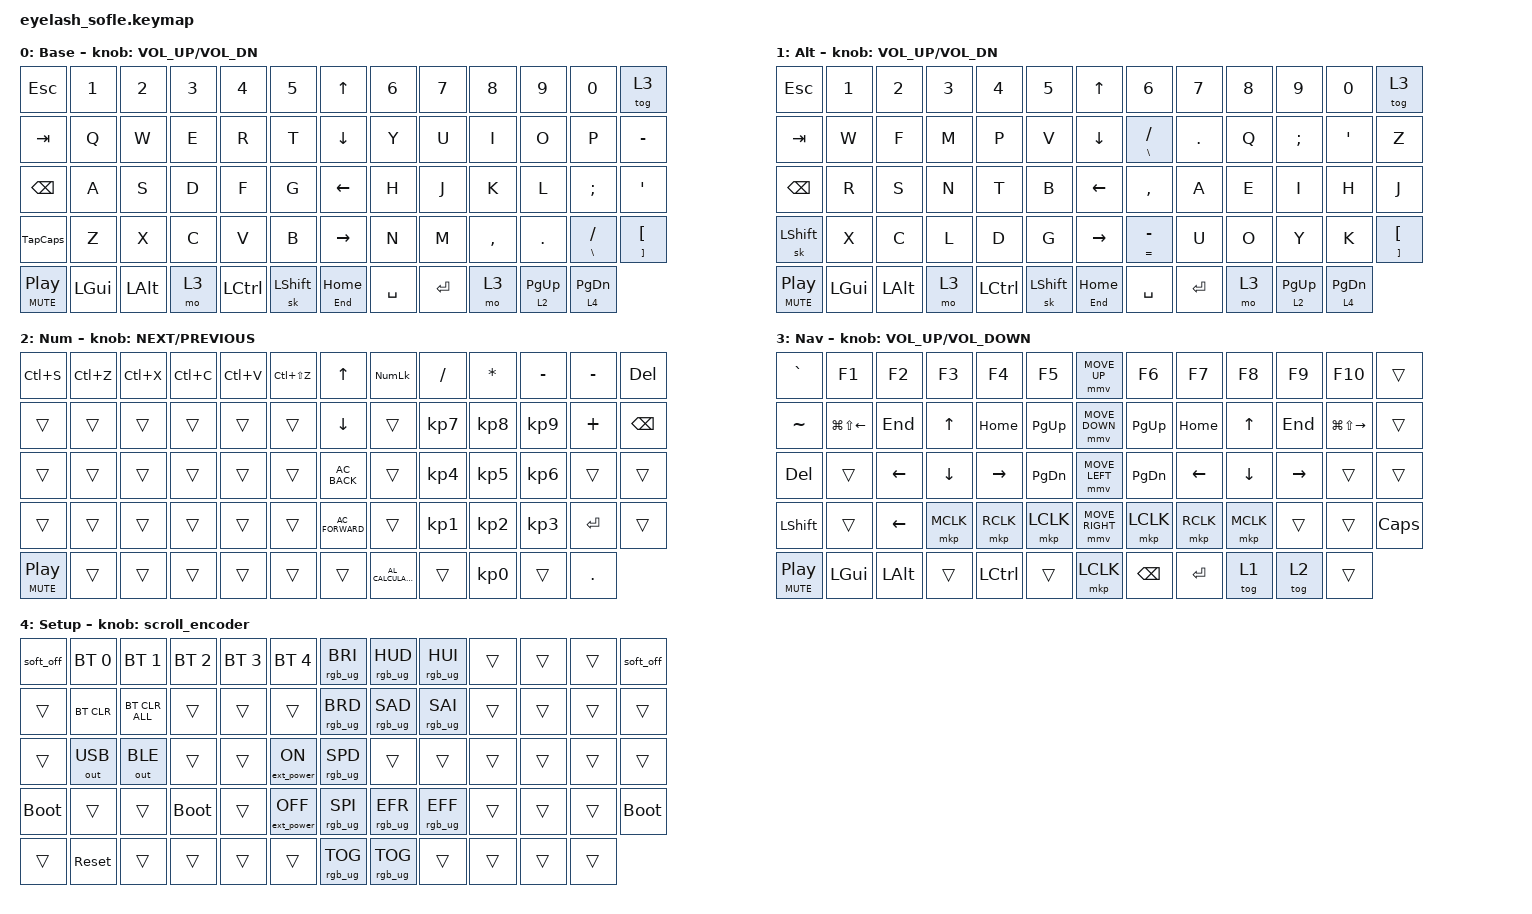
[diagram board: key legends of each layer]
#include <dt-bindings/zmk/mouse.h>
#include <input/processors.dtsi>
#include <behaviors.dtsi>
#include <dt-bindings/zmk/bt.h>
#include <dt-bindings/zmk/ext_power.h>
#include <dt-bindings/zmk/keys.h>
#include <dt-bindings/zmk/outputs.h>
#include <dt-bindings/zmk/pointing.h>
#include <dt-bindings/zmk/pointing.h>
#include <dt-bindings/zmk/pointing.h>
#include <dt-bindings/zmk/rgb.h>

/*

   &mmv_input_listener {
       input-processors = <&zip_xy_scaler 2 1>;
   };

   &msc_input_listener {
       input-processors = <&zip_xy_scaler 2 1>;
   };

 */

#define ZMK_MOUSE_DEFAULT_MOVE_VAL 1200  // 600
#define ZMK_MOUSE_DEFAULT_SCRL_VAL 20    // 10

/ {
    behaviors {
        mmv {
            acceleration-exponent = <1>;      // 1
            time-to-max-speed-ms = <900>;    // 40
            delay-ms = <0>;                   // 0
        };

        msc {
            acceleration-exponent = <1>;      // 0
            time-to-max-speed-ms = <400>;      // 500
            delay-ms = <0>;                   //   10
        };
    };

    scroll_encoder: scroll_encoder {
        compatible = "zmk,behavior-sensor-rotate";
        #sensor-binding-cells = <0>;
        bindings = <&msc SCRL_DOWN>, <&msc SCRL_UP>;

        tap-ms = <30>;
    };

    TapCaps: TapCaps {
        compatible = "zmk,behavior-tap-dance";
        label = "TAPCAPS";
        #binding-cells = <0>;
        bindings = <&kp LEFT_SHIFT>, <&kp CAPS>;
    };

    keymap {
        compatible = "zmk,keymap";

        Base {
            bindings = <
&kp ESCAPE               &kp N1        &kp N2        &kp N3  &kp N4            &kp N5            &kp UP_ARROW     &kp N6     &kp N7     &kp N8     &kp N9         &kp N0              &tog 3
&kp TAB                  &kp Q         &kp W         &kp E   &kp R             &kp T             &kp DOWN_ARROW   &kp Y      &kp U      &kp I      &kp O          &kp P               &kp MINUS
&kp BACKSPACE            &kp A         &kp S         &kp D   &kp F             &kp G             &kp LEFT_ARROW   &kp H      &kp J      &kp K      &kp L          &kp SEMI            &kp APOS
&TapCaps                 &kp Z         &kp X         &kp C   &kp V             &kp B             &kp RIGHT_ARROW  &kp N      &kp M      &kp COMMA  &kp DOT        &mt BACKSLASH FSLH  &mt RBKT LBKT
&mt C_MUTE C_PLAY_PAUSE  &kp LEFT_GUI  &kp LEFT_ALT  &mo 3   &kp LEFT_CONTROL  &sk LEFT_SHIFT    &mt END HOME     &kp SPACE  &kp ENTER  &mo 3      &lt 2 PAGE_UP  &lt 4 PAGE_DOWN
            >;

            sensor-bindings = <&inc_dec_kp C_VOLUME_UP C_VOL_DN>;
            display-name = "Base";
            label = "Base";
        };

        Alt {
            label = "Alt";
            display-name = "Alt";
            bindings = <
&kp ESCAPE               &kp N1        &kp N2        &kp N3  &kp N4            &kp N5            &kp UP_ARROW     &kp N6              &kp N7     &kp N8  &kp N9         &kp N0           &tog 3
&kp TAB                  &kp W         &kp F         &kp M   &kp P             &kp V             &kp DOWN_ARROW   &mt BACKSLASH FSLH  &kp DOT    &kp Q   &kp SEMI       &kp APOS         &kp Z
&kp BACKSPACE            &kp R         &kp S         &kp N   &kp T             &kp B             &kp LEFT_ARROW   &kp COMMA           &kp A      &kp E   &kp I          &kp H            &kp J
&sk LSHFT                &kp X         &kp C         &kp L   &kp D             &kp G             &kp RIGHT_ARROW  &mt EQUAL MINUS     &kp U      &kp O   &kp Y          &kp K            &mt RBKT LBKT
&mt C_MUTE C_PLAY_PAUSE  &kp LEFT_GUI  &kp LEFT_ALT  &mo 3   &kp LEFT_CONTROL  &sk LEFT_SHIFT    &mt END HOME     &kp SPACE           &kp ENTER  &mo 3   &lt 2 PAGE_UP  &lt 4 PAGE_DOWN
            >;

            sensor-bindings = <&inc_dec_kp C_VOLUME_UP C_VOL_DN>;
        };

        Num {
            bindings = <
&kp LC(S)                &kp LC(Z)  &kp LC(X)  &kp LC(C)  &kp LC(V)  &kp LC(LS(Z))    &kp UP_ARROW      &kp KP_NUMLOCK       &kp SLASH        &kp ASTRK        &kp MINUS        &kp MINUS  &kp DEL
&trans                   &trans     &trans     &trans     &trans     &trans           &kp DOWN          &trans               &kp KP_NUMBER_7  &kp KP_NUMBER_8  &kp KP_NUMBER_9  &kp PLUS   &kp BACKSPACE
&trans                   &trans     &trans     &trans     &trans     &trans           &kp C_AC_BACK     &trans               &kp KP_NUMBER_4  &kp KP_NUMBER_5  &kp KP_NUMBER_6  &trans     &trans
&trans                   &trans     &trans     &trans     &trans     &trans           &kp C_AC_FORWARD  &trans               &kp KP_NUMBER_1  &kp KP_NUMBER_2  &kp KP_NUMBER_3  &kp RET    &trans
&mt C_MUTE C_PLAY_PAUSE  &trans     &trans     &trans     &trans     &trans           &trans            &kp C_AL_CALCULATOR  &trans           &kp KP_N0        &trans           &kp DOT
            >;

            label = "Num";
            display-name = "Num";
            sensor-bindings = <&inc_dec_kp C_NEXT C_PREVIOUS>;
        };

        Nav {
            label = "Nav";
            display-name = "Nav";
            bindings = <
&kp GRAVE                &kp F1            &kp F2        &kp F3     &kp F4     &kp F5           &mmv MOVE_UP     &kp F6         &kp F7     &kp F8     &kp F9     &kp F10            &trans
&kp TILDE                &kp LG(LS(LEFT))  &kp END       &kp UP     &kp HOME   &kp PAGE_UP      &mmv MOVE_DOWN   &kp PG_UP      &kp HOME   &kp UP     &kp END    &kp LG(LS(RIGHT))  &trans
&kp DELETE               &trans            &kp LEFT      &kp DOWN   &kp RIGHT  &kp PAGE_DOWN    &mmv MOVE_LEFT   &kp PG_DN      &kp LEFT   &kp DOWN   &kp RIGHT  &trans             &trans
&kp LEFT_SHIFT           &trans            &kp LEFT      &mkp MCLK  &mkp RCLK  &mkp LCLK        &mmv MOVE_RIGHT  &mkp LCLK      &mkp RCLK  &mkp MCLK  &trans     &trans             &kp CAPSLOCK
&mt C_MUTE C_PLAY_PAUSE  &kp LEFT_GUI      &kp LEFT_ALT  &trans     &kp LCTRL  &trans           &mkp LCLK        &kp BACKSPACE  &kp ENTER  &tog 1     &tog 2     &trans
            >;

            sensor-bindings = <&inc_dec_kp C_VOLUME_UP C_VOLUME_DOWN>;
        };

        Setup {
            bindings = <
&soft_off    &bt BT_SEL 0  &bt BT_SEL 1    &bt BT_SEL 2  &bt BT_SEL 3  &bt BT_SEL 4         &rgb_ug RGB_BRI  &rgb_ug RGB_HUD  &rgb_ug RGB_HUI  &trans  &trans  &trans  &soft_off
&trans       &bt BT_CLR    &bt BT_CLR_ALL  &trans        &trans        &trans               &rgb_ug RGB_BRD  &rgb_ug RGB_SAD  &rgb_ug RGB_SAI  &trans  &trans  &trans  &trans
&trans       &out OUT_USB  &out OUT_BLE    &trans        &trans        &ext_power EP_ON     &rgb_ug RGB_SPD  &trans           &trans           &trans  &trans  &trans  &trans
&bootloader  &trans        &trans          &bootloader   &trans        &ext_power EP_OFF    &rgb_ug RGB_SPI  &rgb_ug RGB_EFR  &rgb_ug RGB_EFF  &trans  &trans  &trans  &bootloader
&trans       &sys_reset    &trans          &trans        &trans        &trans               &rgb_ug RGB_TOG  &rgb_ug RGB_TOG  &trans           &trans  &trans  &trans
            >;

            sensor-bindings = <&scroll_encoder>;
            label = "Setup";
            display-name = "Setup";
        };

        extra1 { status = "reserved"; };

        extra2 { status = "reserved"; };

        extra3 { status = "reserved"; };

        extra4 { status = "reserved"; };
    };
};
